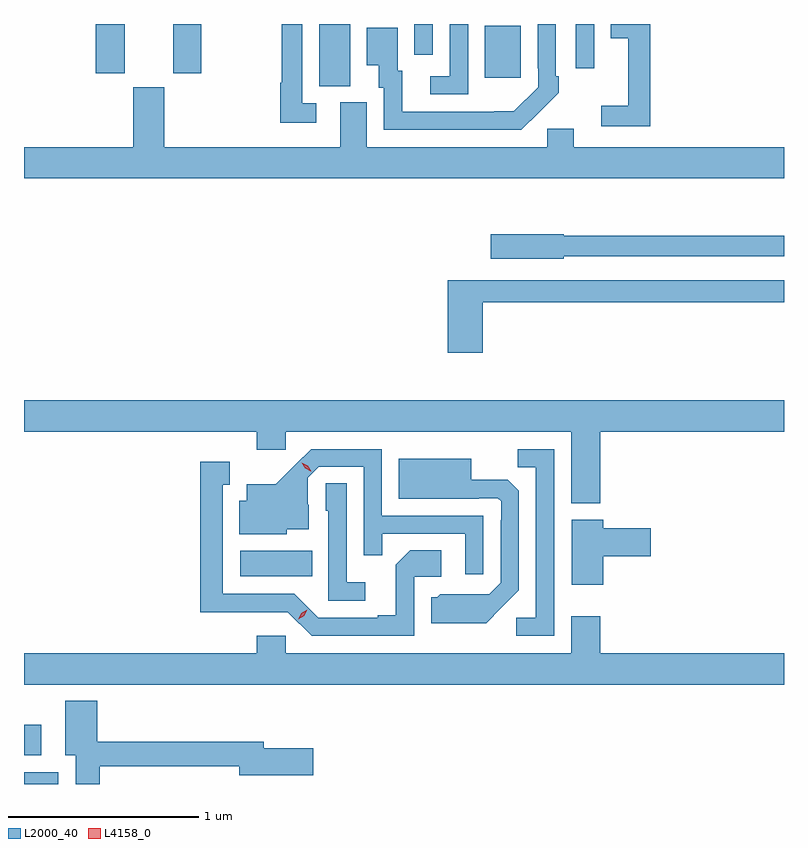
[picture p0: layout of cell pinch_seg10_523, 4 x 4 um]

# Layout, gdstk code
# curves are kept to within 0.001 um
import gdstk
lib = gdstk.Library(unit=1e-6, precision=1e-09)
def R(c, l, rs):  # rectangles x0, y0, x1, y1
    for r in rs: c.add(gdstk.rectangle(r[:2], r[2:], *l))
def P(c, l, *ps):  # polygons
    for p in ps: c.add(gdstk.Polygon(p, *l))
L2000_40 = (2000, 40)
L4158_0 = (4158, 0)

pinch_seg10_523 = lib.new_cell('pinch_seg10_523')
R(pinch_seg10_523, L2000_40, [(300.741,1271.821,300.922,1271.884), (300.741,1271.973,300.832,1272.133), (301.878,1272.914,302.258,1273.048), (302.294,1275.493,302.458,1275.821), (303.167,1275.537,303.355,1275.811), (301.118,1275.561,301.27,1275.821), (301.526,1275.561,301.674,1275.821), (303.645,1275.588,303.741,1275.821), (302.796,1275.66,302.892,1275.821)])
P(pinch_seg10_523, L2000_40, [(303.078,1275.821),(302.982,1275.821),(302.982,1275.546),(302.88,1275.546),(302.88,1275.45),(303.078,1275.45)],
  [(303.449,1275.355),(303.45,1275.354),(303.555,1275.459),(303.555,1275.547),(303.54,1275.547),(303.54,1275.821),(303.444,1275.821),(303.444,1275.589),(303.447,1275.589),(303.447,1275.489),(303.319,1275.361),(302.731,1275.36),(302.731,1275.576),(302.707,1275.576),(302.707,1275.802),(302.546,1275.802),(302.546,1275.605),(302.609,1275.605),(302.609,1275.486),(302.634,1275.486),(302.634,1275.264),(303.358,1275.264)],
  [(302.278,1275.405),(302.205,1275.405),(302.205,1275.821),(302.097,1275.821),(302.097,1275.512),(302.089,1275.512),(302.089,1275.3),(302.278,1275.3)],
  [(304.037,1275.821),(303.83,1275.821),(303.83,1275.746),(303.92,1275.746),(303.92,1275.391),(303.78,1275.391),(303.78,1275.282),(304.037,1275.282)],
  [(304.741,1275.172),(303.634,1275.172),(303.634,1275.27),(303.495,1275.27),(303.495,1275.172),(302.545,1275.172),(302.545,1275.408),(302.405,1275.408),(302.405,1275.172),(301.48,1275.172),(301.48,1275.489),(301.316,1275.489),(301.316,1275.172),(300.741,1275.172),(300.741,1275.008),(304.741,1275.008)],
  [(303.582,1274.598),(304.741,1274.598),(304.741,1274.707),(303.582,1274.707),(303.582,1274.715),(303.198,1274.715),(303.198,1274.585),(303.582,1274.585)],
  [(303.155,1274.356),(304.741,1274.356),(304.741,1274.472),(302.972,1274.472),(302.972,1274.091),(303.155,1274.091)],
  [(303.773,1273.676),(304.741,1273.676),(304.741,1273.84),(300.741,1273.84),(300.741,1273.676),(301.967,1273.676),(301.967,1273.581),(302.118,1273.581),(302.118,1273.676),(303.62,1273.676),(303.62,1273.298),(303.773,1273.298)],
  [(303.159,1273.233),(302.625,1273.233),(302.625,1273.584),(302.252,1273.584),(302.065,1273.399),(301.913,1273.399),(301.913,1273.312),(301.874,1273.312),(301.874,1273.136),(302.124,1273.136),(302.124,1273.163),(302.239,1273.163),(302.239,1273.292),(302.235,1273.292),(302.235,1273.434),(302.292,1273.491),(302.529,1273.491),(302.529,1273.024),(302.627,1273.024),(302.627,1273.137),(303.063,1273.137),(303.063,1272.924),(303.159,1272.924)],
  [(303.531,1273.584),(303.34,1273.584),(303.34,1273.489),(303.435,1273.489),(303.435,1272.696),(303.333,1272.696),(303.333,1272.6),(303.531,1272.6)],
  [(303.253,1272.749),(303.345,1272.842),(303.345,1273.364),(303.286,1273.423),(303.094,1273.423),(303.094,1273.534),(302.714,1273.534),(302.714,1273.322),(303.134,1273.322),(303.134,1273.326),(303.234,1273.326),(303.252,1273.308),(303.252,1273.208),(303.249,1273.208),(303.249,1272.879),(303.189,1272.819),(302.932,1272.82),(302.916,1272.804),(302.885,1272.804),(302.885,1272.668),(303.173,1272.668)],
  [(302.796,1272.912),(302.938,1272.912),(302.938,1273.052),(302.773,1273.052),(302.697,1272.976),(302.697,1272.709),(302.603,1272.709),(302.603,1272.696),(302.289,1272.696),(302.163,1272.822),(301.786,1272.822),(301.786,1273.395),(301.825,1273.395),(301.825,1273.516),(301.668,1273.516),(301.668,1272.725),(302.13,1272.726),(302.256,1272.6),(302.796,1272.6)],
  [(302.536,1272.883),(302.439,1272.883),(302.439,1273.403),(302.328,1273.403),(302.328,1273.26),(302.343,1273.26),(302.343,1272.786),(302.536,1272.786)],
  [(303.79,1273.019),(304.039,1273.019),(304.039,1273.166),(303.79,1273.166),(303.79,1273.213),(303.623,1273.213),(303.623,1272.87),(303.79,1272.87)],
  [(304.741,1272.508),(303.773,1272.508),(303.773,1272.703),(303.62,1272.703),(303.62,1272.508),(302.118,1272.508),(302.118,1272.601),(301.967,1272.601),(301.967,1272.508),(300.741,1272.508),(300.741,1272.344),(304.741,1272.344)],
  [(301.139,1271.914),(301.874,1271.914),(301.874,1271.867),(302.263,1271.867),(302.263,1272.009),(302.002,1272.009),(302.002,1272.043),(301.126,1272.043),(301.126,1272.259),(300.959,1272.259),(300.959,1271.972),(301.013,1271.972),(301.013,1271.821),(301.139,1271.821)])
P(pinch_seg10_523, L4158_0, [(302.251,1273.467),(302.221,1273.483),(302.204,1273.512),(302.204,1273.513),(302.204,1273.513),(302.235,1273.497),(302.252,1273.468),(302.252,1273.467)],
  [(302.184,1272.687),(302.184,1272.687),(302.201,1272.719),(302.233,1272.738),(302.233,1272.738),(302.233,1272.738),(302.216,1272.706),(302.184,1272.687)])

lib.write_gds('pinch_seg10_523.gds')
